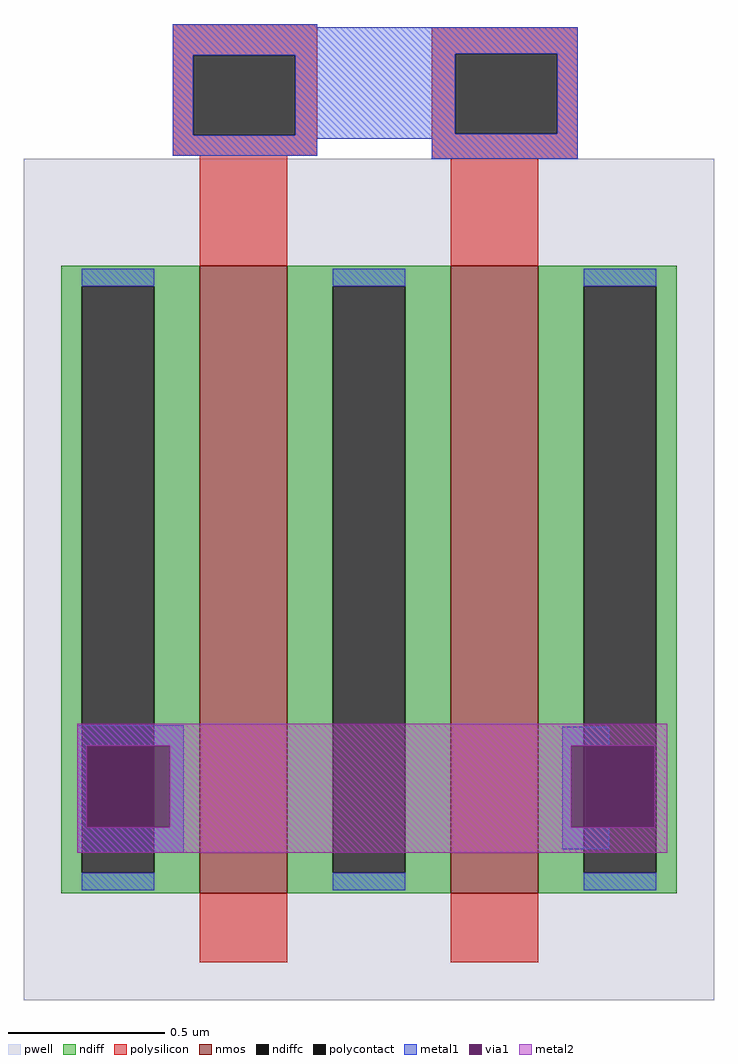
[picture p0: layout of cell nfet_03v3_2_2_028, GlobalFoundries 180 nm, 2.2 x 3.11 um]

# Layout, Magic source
magic
tech gf180mcuD
magscale 1 10
<< pwell >>
rect 34 94 102 175
<< ndiff >>
rect 34 94 102 175
<< polysilicon >>
rect 95 602 187 622
rect 95 551 108 602
rect 173 551 187 602
rect 95 538 187 551
rect 260 603 353 620
rect 260 552 275 603
rect 340 552 353 603
rect 112 510 168 538
rect 260 536 353 552
rect 272 510 328 536
<< polycontact >>
rect 108 551 173 602
rect 275 552 340 603
<< metal1 >>
rect 95 620 187 622
rect 95 603 353 620
rect 95 602 275 603
rect 95 551 108 602
rect 173 552 275 602
rect 340 552 353 603
rect 173 551 353 552
rect 95 549 353 551
rect 95 538 187 549
rect 260 536 353 549
rect 34 162 102 175
rect 34 110 40 162
rect 93 110 102 162
rect 34 94 102 110
rect 343 162 373 174
rect 343 110 349 162
rect 343 96 373 110
<< via1 >>
rect 40 110 93 162
rect 349 110 402 162
<< metal2 >>
rect 34 162 410 176
rect 34 110 40 162
rect 93 110 349 162
rect 402 110 410 162
rect 34 94 410 110
use nfet_03v3_NETG85  nfet_03v3_NETG85_0
transform 1 0 220 0 1 268
box -220 -268 220 268
<< end >>

# cell nfet_03v3_NETG85: kit device nfet_03v3, w 2 l 0.280 m 1 nf 2 diffcov 100 polycov 100 guard 0 glc 0 grc 0 gtc 0 gbc 0 tbcov 100 rlcov 100 topc 0 botc 0 poverlap 0 doverlap 1 lmin 0.28 wmin 0.22 class mosfet full_metal 0 compatible {nfet_03v3 nfet_06v0 nfet_06v0_nvt}
